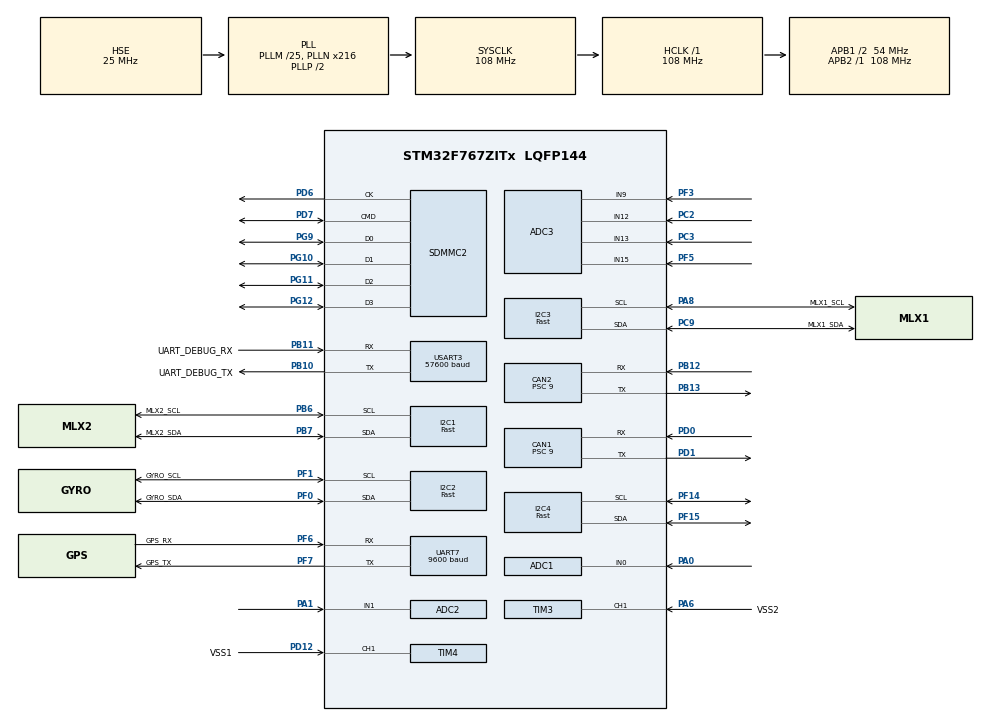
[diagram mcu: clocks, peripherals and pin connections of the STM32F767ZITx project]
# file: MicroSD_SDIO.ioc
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ADC1.Channel-1\#ChannelRegularConversion=ADC_CHANNEL_0
ADC1.ClockPrescaler=ADC_CLOCK_SYNC_PCLK_DIV8
ADC1.ContinuousConvMode=ENABLE
ADC1.DMAContinuousRequests=ENABLE
ADC1.EnableAnalogWatchDog=false
ADC1.NbrOfConversionFlag=1
ADC1.Rank-1\#ChannelRegularConversion=1
ADC1.SamplingTime-1\#ChannelRegularConversion=ADC_SAMPLETIME_480CYCLES
ADC1.ScanConvMode=ADC_SCAN_ENABLE
ADC1.master=1
ADC2.Channel-1\#ChannelRegularConversion=ADC_CHANNEL_1
ADC2.ClockPrescaler=ADC_CLOCK_SYNC_PCLK_DIV8
ADC2.DMAContinuousRequests=ENABLE
ADC2.DiscontinuousConvMode=DISABLE
ADC2.NbrOfConversionFlag=1
ADC2.Rank-1\#ChannelRegularConversion=1
ADC2.SamplingTime-1\#ChannelRegularConversion=ADC_SAMPLETIME_480CYCLES
ADC2.ScanConvMode=ADC_SCAN_ENABLE
ADC3.Channel-8\#ChannelRegularConversion=ADC_CHANNEL_9
ADC3.ClockPrescaler=ADC_CLOCK_SYNC_PCLK_DIV8
ADC3.NbrOfConversion=1
ADC3.NbrOfConversionFlag=1
ADC3.Rank-8\#ChannelRegularConversion=1
ADC3.SamplingTime-8\#ChannelRegularConversion=ADC_SAMPLETIME_480CYCLES
CAN1.BS1=CAN_BS1_2TQ
CAN1.BS2=CAN_BS2_3TQ
CAN1.CalculateBaudRate=999999
CAN1.CalculateTimeBit=1000
CAN1.CalculateTimeQuantum=166.66666666666669
CAN1.Mode=CAN_MODE_NORMAL
CAN1.NART=ENABLE
CAN1.Prescaler=9
CAN1.SJW=CAN_SJW_1TQ
CAN2.BS1=CAN_BS1_2TQ
CAN2.BS2=CAN_BS2_3TQ
CAN2.CalculateBaudRate=999999
CAN2.CalculateTimeBit=1000
CAN2.CalculateTimeQuantum=166.66666666666669
CAN2.NART=ENABLE
CAN2.Prescaler=9
Dma.ADC1.3.Direction=DMA_PERIPH_TO_MEMORY
Dma.ADC1.3.FIFOMode=DMA_FIFOMODE_DISABLE
Dma.ADC1.3.Instance=DMA2_Stream4
Dma.ADC1.3.MemDataAlignment=DMA_MDATAALIGN_HALFWORD
Dma.ADC1.3.MemInc=DMA_MINC_ENABLE
Dma.ADC1.3.Mode=DMA_CIRCULAR
Dma.ADC1.3.PeriphDataAlignment=DMA_PDATAALIGN_HALFWORD
Dma.ADC1.3.PeriphInc=DMA_PINC_DISABLE
Dma.ADC1.3.Priority=DMA_PRIORITY_LOW
Dma.ADC2.2.Direction=DMA_PERIPH_TO_MEMORY
Dma.ADC2.2.FIFOMode=DMA_FIFOMODE_DISABLE
Dma.ADC2.2.Instance=DMA2_Stream2
Dma.ADC2.2.MemDataAlignment=DMA_MDATAALIGN_HALFWORD
Dma.ADC2.2.MemInc=DMA_MINC_ENABLE
Dma.ADC2.2.Mode=DMA_CIRCULAR
Dma.ADC2.2.PeriphDataAlignment=DMA_PDATAALIGN_HALFWORD
Dma.ADC2.2.PeriphInc=DMA_PINC_DISABLE
Dma.ADC2.2.Priority=DMA_PRIORITY_LOW
Dma.Request0=SDMMC2_RX
Dma.Request1=SDMMC2_TX
Dma.Request2=ADC2
Dma.Request3=ADC1
Dma.Request4=USART3_TX
Dma.SDMMC2_RX.0.Direction=DMA_PERIPH_TO_MEMORY
Dma.SDMMC2_RX.0.FIFOMode=DMA_FIFOMODE_ENABLE
Dma.SDMMC2_RX.0.FIFOThreshold=DMA_FIFO_THRESHOLD_FULL
Dma.SDMMC2_RX.0.Instance=DMA2_Stream0
Dma.SDMMC2_RX.0.MemBurst=DMA_MBURST_INC4
Dma.SDMMC2_RX.0.MemDataAlignment=DMA_MDATAALIGN_WORD
Dma.SDMMC2_RX.0.MemInc=DMA_MINC_ENABLE
Dma.SDMMC2_RX.0.Mode=DMA_PFCTRL
Dma.SDMMC2_RX.0.PeriphBurst=DMA_PBURST_INC4
Dma.SDMMC2_RX.0.PeriphDataAlignment=DMA_PDATAALIGN_WORD
Dma.SDMMC2_RX.0.PeriphInc=DMA_PINC_DISABLE
Dma.SDMMC2_RX.0.Priority=DMA_PRIORITY_LOW
Dma.SDMMC2_TX.1.Direction=DMA_MEMORY_TO_PERIPH
Dma.SDMMC2_TX.1.FIFOMode=DMA_FIFOMODE_ENABLE
Dma.SDMMC2_TX.1.FIFOThreshold=DMA_FIFO_THRESHOLD_FULL
Dma.SDMMC2_TX.1.Instance=DMA2_Stream5
Dma.SDMMC2_TX.1.MemBurst=DMA_MBURST_INC4
Dma.SDMMC2_TX.1.MemDataAlignment=DMA_MDATAALIGN_WORD
Dma.SDMMC2_TX.1.MemInc=DMA_MINC_ENABLE
Dma.SDMMC2_TX.1.Mode=DMA_PFCTRL
Dma.SDMMC2_TX.1.PeriphBurst=DMA_PBURST_INC4
Dma.SDMMC2_TX.1.PeriphDataAlignment=DMA_PDATAALIGN_WORD
Dma.SDMMC2_TX.1.PeriphInc=DMA_PINC_DISABLE
Dma.SDMMC2_TX.1.Priority=DMA_PRIORITY_LOW
Dma.USART3_TX.4.Direction=DMA_MEMORY_TO_PERIPH
Dma.USART3_TX.4.FIFOMode=DMA_FIFOMODE_DISABLE
Dma.USART3_TX.4.Instance=DMA1_Stream3
Dma.USART3_TX.4.MemDataAlignment=DMA_MDATAALIGN_BYTE
Dma.USART3_TX.4.MemInc=DMA_MINC_ENABLE
Dma.USART3_TX.4.Mode=DMA_CIRCULAR
Dma.USART3_TX.4.PeriphDataAlignment=DMA_PDATAALIGN_BYTE
Dma.USART3_TX.4.PeriphInc=DMA_PINC_DISABLE
Dma.USART3_TX.4.Priority=DMA_PRIORITY_LOW
FATFS.USE_DMA_CODE_SD=1
FATFS._FS_LOCK=10
FATFS._HSD=hsd2
FATFS._MAX_LFN=20
FATFS._MAX_SS=4096
FATFS._MULTI_PARTITION=0
FATFS._USE_LFN=0
FATFS._VOLUMES=1
I2C1.I2C_Speed_Mode=I2C_Fast
I2C1.Timing=0x6000030D
I2C2.I2C_Speed_Mode=I2C_Fast
I2C2.Timing=0x6000030D
I2C3.I2C_Speed_Mode=I2C_Fast
I2C3.Timing=0x6000030D
I2C4.I2C_Speed_Mode=I2C_Fast
I2C4.Timing=0x6000030D
Mcu.Family=STM32F7
Mcu.Name=STM32F767ZITx
Mcu.Package=LQFP144
NVIC.ADC_IRQn=true\:5\:0\:true\:false\:true\:true\:true\:true
NVIC.CAN1_RX0_IRQn=true\:2\:0\:true\:false\:true\:true\:true\:true
NVIC.CAN1_RX1_IRQn=true\:0\:0\:false\:false\:true\:true\:true\:true
NVIC.CAN2_RX0_IRQn=true\:3\:0\:true\:false\:true\:true\:true\:true
NVIC.DMA1_Stream3_IRQn=true\:0\:0\:false\:false\:true\:false\:true\:true
NVIC.DMA2_Stream0_IRQn=true\:0\:0\:false\:false\:true\:false\:true\:true
NVIC.DMA2_Stream2_IRQn=true\:0\:0\:false\:false\:true\:false\:true\:true
NVIC.DMA2_Stream4_IRQn=true\:0\:0\:false\:false\:true\:false\:true\:true
NVIC.DMA2_Stream5_IRQn=true\:0\:0\:false\:false\:true\:false\:true\:true
NVIC.PriorityGroup=NVIC_PRIORITYGROUP_4
NVIC.SDMMC2_IRQn=true\:1\:0\:true\:false\:true\:true\:true\:true
NVIC.TIM3_IRQn=true\:3\:0\:true\:false\:true\:true\:true\:true
NVIC.TIM4_IRQn=true\:3\:0\:true\:false\:true\:true\:true\:true
NVIC.TIM8_TRG_COM_TIM14_IRQn=true\:1\:0\:true\:false\:true\:true\:true\:true
NVIC.UART7_IRQn=true\:3\:0\:true\:false\:true\:true\:true\:true
NVIC.USART3_IRQn=true\:3\:0\:true\:false\:true\:true\:true\:true
PA0/WKUP.Signal=ADCx_IN0
PA1.Signal=ADCx_IN1
PA6.GPIO_Label=VSS2
PA6.Signal=S_TIM3_CH1
PA8.GPIO_Label=MLX1_SCL
PA8.Mode=I2C
PA8.Signal=I2C3_SCL
PB10.GPIO_Label=UART_DEBUG_TX
PB10.Mode=Asynchronous
PB10.Signal=USART3_TX
PB11.GPIO_Label=UART_DEBUG_RX
PB11.Mode=Asynchronous
PB11.Signal=USART3_RX
PB12.Mode=CAN_Activate
PB12.Signal=CAN2_RX
PB13.Mode=CAN_Activate
PB13.Signal=CAN2_TX
PB6.GPIO_Label=MLX2_SCL
PB6.Mode=I2C
PB6.Signal=I2C1_SCL
PB7.GPIO_Label=MLX2_SDA
PB7.Mode=I2C
PB7.Signal=I2C1_SDA
PC14/OSC32_IN.Mode=LSE-External-Oscillator
PC14/OSC32_IN.Signal=RCC_OSC32_IN
PC15/OSC32_OUT.Mode=LSE-External-Oscillator
PC15/OSC32_OUT.Signal=RCC_OSC32_OUT
PC2.Signal=ADCx_IN12
PC3.Signal=ADCx_IN13
PC9.GPIO_Label=MLX1_SDA
PC9.Mode=I2C
PC9.Signal=I2C3_SDA
PD0.Mode=CAN_Activate
PD0.Signal=CAN1_RX
PD1.Mode=CAN_Activate
PD1.Signal=CAN1_TX
PD12.GPIO_Label=VSS1
PD12.Signal=S_TIM4_CH1
PD6.Mode=SD_4_bits_Wide_bus
PD6.Signal=SDMMC2_CK
PD7.Mode=SD_4_bits_Wide_bus
PD7.Signal=SDMMC2_CMD
PF0.GPIO_Label=GYRO_SDA
PF0.Mode=I2C
PF0.Signal=I2C2_SDA
PF1.GPIO_Label=GYRO_SCL
PF1.Mode=I2C
PF1.Signal=I2C2_SCL
PF14.Mode=I2C
PF14.Signal=I2C4_SCL
PF15.Mode=I2C
PF15.Signal=I2C4_SDA
PF3.Mode=IN9
PF3.Signal=ADC3_IN9
PF5.Mode=IN15
PF5.Signal=ADC3_IN15
PF6.GPIO_Label=GPS_RX
PF6.Mode=Asynchronous
PF6.Signal=UART7_RX
PF7.GPIO_Label=GPS_TX
PF7.Mode=Asynchronous
PF7.Signal=UART7_TX
PG10.Mode=SD_4_bits_Wide_bus
PG10.Signal=SDMMC2_D1
PG11.Mode=SD_4_bits_Wide_bus
PG11.Signal=SDMMC2_D2
PG12.Mode=SD_4_bits_Wide_bus
PG12.Signal=SDMMC2_D3
PG9.Mode=SD_4_bits_Wide_bus
PG9.Signal=SDMMC2_D0
PH0/OSC_IN.Mode=HSE-External-Oscillator
PH0/OSC_IN.Signal=RCC_OSC_IN
PH1/OSC_OUT.Mode=HSE-External-Oscillator
PH1/OSC_OUT.Signal=RCC_OSC_OUT
ProjectManager.HeapSize=0x200
ProjectManager.StackSize=0x400
ProjectManager.TargetToolchain=STM32CubeIDE
RCC.AHBFreq_Value=108000000
RCC.APB1CLKDivider=RCC_HCLK_DIV2
RCC.APB1Freq_Value=54000000
RCC.APB1TimFreq_Value=108000000
RCC.APB2Freq_Value=108000000
RCC.APB2TimFreq_Value=108000000
RCC.CortexFreq_Value=108000000
RCC.HCLKFreq_Value=108000000
RCC.HSE_VALUE=25000000
RCC.HSI_VALUE=16000000
RCC.PLLM=25
RCC.PLLN=216
RCC.PLLQ=5
RCC.PLLSourceVirtual=RCC_PLLSOURCE_HSE
RCC.RTCClockSelection=RCC_RTCCLKSOURCE_LSE
RCC.SDMMC2ClockSelection=RCC_SDMMC2CLKSOURCE_CLK48
RCC.SYSCLKFreq_VALUE=108000000
RCC.SYSCLKSource=RCC_SYSCLKSOURCE_PLLCLK
RCC.USBFreq_Value=43200000
RCC.VCOOutputFreq_Value=216000000
RTC.Date=3
RTC.Format=RTC_FORMAT_BIN
RTC.Hours=20
RTC.Minutes=31
RTC.Month=RTC_MONTH_NOVEMBER
RTC.Seconds=58
RTC.Year=22
SH.ADCx_IN0.0=ADC1_IN0,IN0
SH.ADCx_IN1.0=ADC2_IN1,IN1
SH.ADCx_IN12.0=ADC3_IN12,IN12
SH.ADCx_IN13.0=ADC3_IN13,IN13
SH.S_TIM3_CH1.0=TIM3_CH1,Input_Capture1_from_TI1
SH.S_TIM3_CH1.1=TIM3_CH1,TriggerSource_TI1ED
SH.S_TIM4_CH1.0=TIM4_CH1,Input_Capture1_from_TI1
SH.S_TIM4_CH1.1=TIM4_CH1,TriggerSource_TI1ED
TIM14.Period=249
TIM14.Prescaler=10799
TIM3.Channel-Input_Capture1_from_TI1=TIM_CHANNEL_1
TIM3.ICFilter_CH1=15
TIM3.ICPolarity_CH1=TIM_INPUTCHANNELPOLARITY_FALLING
TIM3.Prescaler=31999
TIM4.Channel-Input_Capture1_from_TI1=TIM_CHANNEL_1
TIM4.ICFilter_CH1=15
TIM4.ICPolarity_CH1=TIM_INPUTCHANNELPOLARITY_FALLING
TIM4.Prescaler=31999
UART7.BaudRate=9600
UART7.OverrunDisableParam=UART_ADVFEATURE_OVERRUN_DISABLE
USART3.BaudRate=57600
USART3.OverrunDisableParam=ADVFEATURE_OVERRUN_DISABLE
USART3.SwapParam=ADVFEATURE_SWAP_DISABLE
USART3.VirtualMode-Asynchronous=VM_ASYNC
VP_FATFS_VS_SDIO.Mode=SDIO
VP_RTC_VS_RTC_Activate.Mode=RTC_Enabled
VP_RTC_VS_RTC_Calendar.Mode=RTC_Calendar
VP_TIM14_VS_ClockSourceINT.Mode=Enable_Timer
VP_TIM3_VS_ClockSourceINT.Mode=Internal
VP_TIM3_VS_ControllerModeReset.Mode=Reset Mode
VP_TIM4_VS_ClockSourceINT.Mode=Internal
VP_TIM4_VS_ControllerModeReset.Mode=Reset Mode
board=custom

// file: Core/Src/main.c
/* USER CODE BEGIN Header */
/**
  ******************************************************************************
  * @file           : main.c
  * @brief          : Main program body
  ******************************************************************************
  * @attention
  *
  * <h2><center>&copy; Copyright (c) 2022 STMicroelectronics.
  * All rights reserved.</center></h2>
  *
  * This software component is licensed by ST under BSD 3-Clause license,
  * the "License"; You may not use this file except in compliance with the
  * License. You may obtain a copy of the License at:
  *                        opensource.org/licenses/BSD-3-Clause
  *
  ******************************************************************************
  */
/* USER CODE END Header */
#include "main.h"
#include "adc.h"
#include "can.h"
#include "dma.h"
#include "fatfs.h"
#include "i2c.h"
#include "rtc.h"
#include "sdmmc.h"
#include "tim.h"
#include "usart.h"
#include "gpio.h"

/* USER CODE BEGIN Includes */
#include <stdio.h>
#include <string.h>
#include <stdarg.h>

#include "basicFunctions.h"
#include "handler.h"
#include "sdcard/SDCARD.h"
#include "ecumaster.h"
#include "logger/transmitter.h"

/* USER CODE END Includes */

/* USER CODE BEGIN PD */
#define TRUE 1
#define FALSE 0
/* USER CODE END PD */

/* USER CODE BEGIN PV */

extern sensorDataHandler _dataHandler[];
extern SensorStatus statusRegister;

extern FIL* EcuFile;
extern FIL* StatsFile;
extern char ecuPath[];
/* USER CODE END PV */

void SystemClock_Config(void);

/* USER CODE BEGIN 0 */
FATFS fileSystem;

int sendFileToUart(FIL * f,char * path)
{

	 FRESULT res;
	 UINT dmy;
	 uint8_t buff[1000];
	 f_close(f);
	 res = f_open(f, path, FA_READ);
	 if (res) return res;
	 HAL_Delay(1000);
	 int length = sprintf(buff,"%s\n", path);
	 HAL_UART_Transmit(&huart7,  buff, length, HAL_MAX_DELAY);
	 //HAL_UART_Transmit(&huart7,  '\n', 1, HAL_MAX_DELAY);
	 HAL_Delay(1000);
	 while (res == FR_OK && !f_eof(f)) {
        res = f_read(f, buff, 1000, &dmy);
        HAL_UART_Transmit(&huart7, buff, dmy,HAL_MAX_DELAY);
	 }
	 HAL_Delay(1000);
	 HAL_UART_Transmit(&huart7, "\n", 1, HAL_MAX_DELAY);
	 HAL_UART_Transmit(&huart7, "EOF\n", 4, HAL_MAX_DELAY);
	 f_close(f);
	 return res;
}
int sendAllFilesToUart()
{
	FILINFO f;

	HAL_UART_Transmit(&huart7, "TORBA", 5, HAL_MAX_DELAY);
	HAL_Delay(1000);
	if(f_stat(absLFSensor.path, &f)==FR_OK)
		{
			sendFileToUart(absLFSensor.File, absLFSensor.path);
		}
	if(f_stat(mlxLFSensor.path, &f)==FR_OK)
	{
		sendFileToUart(mlxLFSensor.File, mlxLFSensor.path);
	}
	if(f_stat(IMUInnerSensor.path, &f)==FR_OK)
	{
		sendFileToUart(IMUInnerSensor.File, IMUInnerSensor.path);
	}
	if(f_stat(gpsSensor.path, &f)==FR_OK)
	{
		sendFileToUart(gpsSensor.File, gpsSensor.path);
	}
	if(f_stat(ecuPath, &f)==FR_OK)
	{
		sendFileToUart(EcuFile, ecuPath);
	}
	HAL_Delay(1000);
	HAL_UART_Transmit(&huart7, "BORBA\n", 6, HAL_MAX_DELAY);
	return 0;

}
int measureTime(uint32_t startTime){
	return HAL_GetTick()- startTime;
}

void HAL_TIM_PeriodElapsedCallback(TIM_HandleTypeDef *htim)
{

  if (htim == &htim14 )
  {
	 IMUInnerSensor.timeToNextRead -= 25;
	 if(IMUInnerSensor.timeToNextRead <= 0){
		 _dataHandler[GYRO].dataReady = 1;
		 IMUInnerSensor.timeToNextRead = 100;
	 }
	 damperLFSensor.timeToNextRead -= 25;
	 if(damperLFSensor.timeToNextRead <= 0){
		 _dataHandler[DAMPERRF].dataReady = 1;
		 _dataHandler[DAMPERLF].dataReady = 1;
		 _dataHandler[DAMPERLR].dataReady = 1;
		 _dataHandler[DAMPERRR].dataReady = 1;
		 damperLFSensor.timeToNextRead = 50;
	 }
	 absLFSensor.timeToNextRead -= 25;
	 if(absLFSensor.timeToNextRead <= 0)
	 {
		 ABSCalculate(&absLFSensor);
		 absLFSensor.timestamp = getSeconds();
		 absLFSensor.timeToNextRead = 25;
		 _dataHandler[ABSLF].dataReady = 1;
	 }
	 absRFSensor.timeToNextRead -= 25;
	 if(absRFSensor.timeToNextRead <= 0)
	 {
		 ABSCalculate(&absRFSensor);
		 absRFSensor.timestamp = getSeconds();
		 absRFSensor.timeToNextRead = 25;
		 _dataHandler[ABSRF].dataReady = 1;
	 }
  }
}
int getTime(RTC_TimeTypeDef* time, RTC_DateTypeDef* date)
{
	HAL_RTC_GetTime(&hrtc, time, RTC_FORMAT_BIN);
    HAL_RTC_GetDate(&hrtc, date, RTC_FORMAT_BIN);
    return ((time->SecondFraction-time->SubSeconds)/((float)time->SecondFraction+1) * 1000);
}
int getSeconds(){
	RTC_TimeTypeDef time;
	RTC_DateTypeDef date;
	int sub = getTime(&time,&date);
	return ((time.Hours*60+time.Minutes)*60+time.Seconds)*1000+sub;
}

//ABS
void HAL_TIM_IC_CaptureCallback(TIM_HandleTypeDef *htim)
{
	ABSCallbackHandler(htim);
}
char received_command[255];
int command_lenght = 0;
uint8_t bufor;
void HAL_UART_RxCpltCallback(UART_HandleTypeDef *huart)
{

	if(huart==gpsSensor.uart)
	{
		GPSCallbackHandler();

	}else if(huart ==&huart3)
	{
		/*
		received_command[command_lenght] = bufor;
		command_lenght++;
		if(bufor == '\n'){
			received_command[command_lenght] = 0;
			parseCommand(received_command);
			command_lenght = 0;

		}
		HAL_UART_Receive_IT(&huart3, &(bufor), 1);
		*/
	}
}

/* USER CODE END 0 */

int main(void)
{

  /* MCU Configuration--------------------------------------------------------*/

  /* Reset of all peripherals, Initializes the Flash interface and the Systick. */
  HAL_Init();

  /* Configure the system clock */
  SystemClock_Config();

  /* Initialize all configured peripherals */
  MX_GPIO_Init();
  MX_DMA_Init();
  MX_FATFS_Init();
  MX_USART3_UART_Init();
  MX_I2C1_Init();
  MX_I2C2_Init();
  MX_UART7_Init();
  MX_SDMMC2_SD_Init();
  MX_RTC_Init();
  MX_ADC1_Init();
  MX_ADC2_Init();
  MX_ADC3_Init();
  MX_CAN1_Init();
  MX_CAN2_Init();
  MX_I2C3_Init();
  MX_I2C4_Init();
  MX_TIM3_Init();
  MX_TIM4_Init();
  MX_TIM14_Init();
  /* USER CODE BEGIN 2 */

  statusRegister.checkTime = SENSOR_ALL_CHECK_TIME;
  initSensors();

  HAL_TIM_Base_Start_IT(&htim14);
  HAL_UART_Receive_IT(&huart3, &(bufor), 1);

  sdInit(&fileSystem);
  printStatusRegister();
  if((statusRegister.SDCARD & 0b100) < SENSOR_FAIL){
	  openAllFiles();
  }

  HAL_Delay(200);

  RTC_TimeTypeDef time;
  RTC_DateTypeDef date;

  HAL_RTC_GetTime(&hrtc, &time, RTC_FORMAT_BIN);
  HAL_RTC_GetDate(&hrtc, &date, RTC_FORMAT_BIN);
  printf("Current Date: %02d/%02d/%04d\n", date.Date, date.Month,2000 + date.Year);
  printf("Current time: %02d:%02d:%02d\n", time.Hours, time.Minutes, time.Seconds);

  /* USER CODE END 2 */

  /* Infinite loop */
  while (1)
  {

    /* USER CODE BEGIN 3 */

	  if((statusRegister.SDCARD & 0b100) < SENSOR_FAIL)
	  {
		  int startTime = 0;
		  for(SENSORS i=0;i<SENSORS_N;i++)
		  {
			  if( _dataHandler[i].isActive)
			  {
				  if(_dataHandler[i].getDataHandler != NULL)
				  {
					  //startTime = HAL_GetTick();
					   _dataHandler[i].getDataHandler(_dataHandler[i].sensorStruct);
					 // statsSave(0, startTime, i);

				  }
				  if(_dataHandler[i].dataReady == 1 && _dataHandler[i].saveDataHandler != NULL)
				  {
					  //startTime = HAL_GetTick();
					  _dataHandler[i].saveDataHandler(_dataHandler[i].sensorStruct);
					  //statsSave(1, startTime, i);
					  _dataHandler[i].dataReady = 0;
				  }

			  }
		  }
		  //startTime = HAL_GetTick();
		  sendEcuLogs(ecuData);
		  //statsSave(2, startTime, 9);
		  //startTime = HAL_GetTick();
		  sdFlush();
		  //statsSave(3, startTime, 9);
	  }else{
		  printf("SD card not initialized\n");
	  }

	}

  /* USER CODE END 3 */
}

void SystemClock_Config(void)
{
  RCC_OscInitTypeDef RCC_OscInitStruct = {0};
  RCC_ClkInitTypeDef RCC_ClkInitStruct = {0};
  RCC_PeriphCLKInitTypeDef PeriphClkInitStruct = {0};

  /** Configure LSE Drive Capability
  */
  HAL_PWR_EnableBkUpAccess();
  __HAL_RCC_LSEDRIVE_CONFIG(RCC_LSEDRIVE_LOW);
  /** Configure the main internal regulator output voltage
  */
  __HAL_RCC_PWR_CLK_ENABLE();
  __HAL_PWR_VOLTAGESCALING_CONFIG(PWR_REGULATOR_VOLTAGE_SCALE3);
  /** Initializes the RCC Oscillators according to the specified parameters
  * in the RCC_OscInitTypeDef structure.
  */
  RCC_OscInitStruct.OscillatorType = RCC_OSCILLATORTYPE_HSE|RCC_OSCILLATORTYPE_LSE;
  RCC_OscInitStruct.HSEState = RCC_HSE_ON;
  RCC_OscInitStruct.LSEState = RCC_LSE_ON;
  RCC_OscInitStruct.PLL.PLLState = RCC_PLL_ON;
  RCC_OscInitStruct.PLL.PLLSource = RCC_PLLSOURCE_HSE;
  RCC_OscInitStruct.PLL.PLLM = 25;
  RCC_OscInitStruct.PLL.PLLN = 216;
  RCC_OscInitStruct.PLL.PLLP = RCC_PLLP_DIV2;
  RCC_OscInitStruct.PLL.PLLQ = 5;
  RCC_OscInitStruct.PLL.PLLR = 2;
  if (HAL_RCC_OscConfig(&RCC_OscInitStruct) != HAL_OK)
  {
    Error_Handler();
  }
  /** Activate the Over-Drive mode
  */
  if (HAL_PWREx_EnableOverDrive() != HAL_OK)
  {
    Error_Handler();
  }
  /** Initializes the CPU, AHB and APB buses clocks
  */
  RCC_ClkInitStruct.ClockType = RCC_CLOCKTYPE_HCLK|RCC_CLOCKTYPE_SYSCLK
                              |RCC_CLOCKTYPE_PCLK1|RCC_CLOCKTYPE_PCLK2;
  RCC_ClkInitStruct.SYSCLKSource = RCC_SYSCLKSOURCE_PLLCLK;
  RCC_ClkInitStruct.AHBCLKDivider = RCC_SYSCLK_DIV1;
  RCC_ClkInitStruct.APB1CLKDivider = RCC_HCLK_DIV2;
  RCC_ClkInitStruct.APB2CLKDivider = RCC_HCLK_DIV1;

  if (HAL_RCC_ClockConfig(&RCC_ClkInitStruct, FLASH_LATENCY_3) != HAL_OK)
  {
    Error_Handler();
  }
  PeriphClkInitStruct.PeriphClockSelection = RCC_PERIPHCLK_RTC|RCC_PERIPHCLK_USART3
                              |RCC_PERIPHCLK_UART7|RCC_PERIPHCLK_I2C1
                              |RCC_PERIPHCLK_I2C2|RCC_PERIPHCLK_I2C3
                              |RCC_PERIPHCLK_I2C4|RCC_PERIPHCLK_SDMMC2
                              |RCC_PERIPHCLK_CLK48;
  PeriphClkInitStruct.RTCClockSelection = RCC_RTCCLKSOURCE_LSE;
  PeriphClkInitStruct.Usart3ClockSelection = RCC_USART3CLKSOURCE_PCLK1;
  PeriphClkInitStruct.Uart7ClockSelection = RCC_UART7CLKSOURCE_PCLK1;
  PeriphClkInitStruct.I2c1ClockSelection = RCC_I2C1CLKSOURCE_PCLK1;
  PeriphClkInitStruct.I2c2ClockSelection = RCC_I2C2CLKSOURCE_PCLK1;
  PeriphClkInitStruct.I2c3ClockSelection = RCC_I2C3CLKSOURCE_PCLK1;
  PeriphClkInitStruct.I2c4ClockSelection = RCC_I2C4CLKSOURCE_PCLK1;
  PeriphClkInitStruct.Clk48ClockSelection = RCC_CLK48SOURCE_PLL;
  PeriphClkInitStruct.Sdmmc2ClockSelection = RCC_SDMMC2CLKSOURCE_CLK48;
  if (HAL_RCCEx_PeriphCLKConfig(&PeriphClkInitStruct) != HAL_OK)
  {
    Error_Handler();
  }
}

void Error_Handler(void)
{
  __disable_irq();
  while (1)
  {
  }
}

/************************ (C) COPYRIGHT STMicroelectronics *****END OF FILE****/
